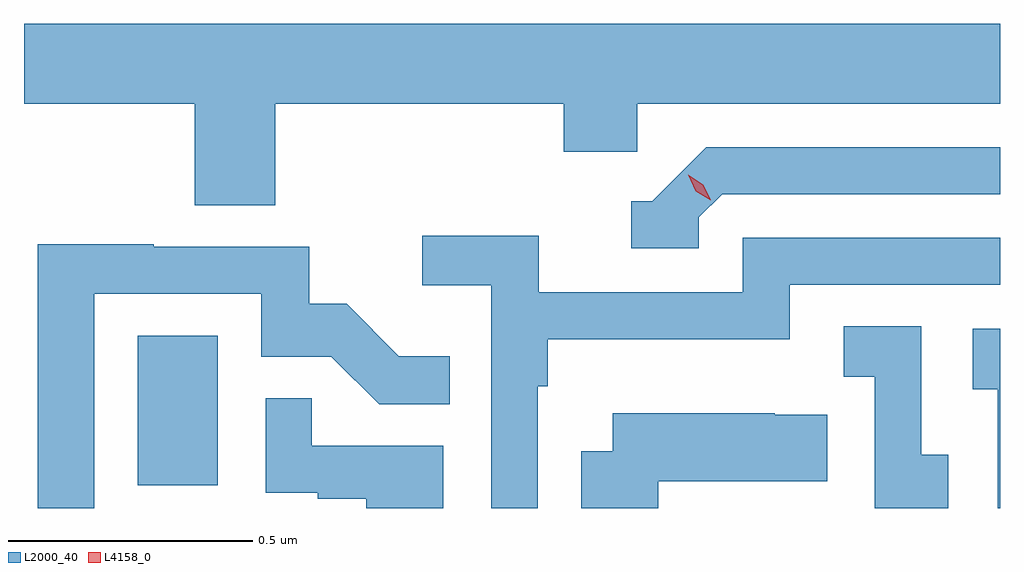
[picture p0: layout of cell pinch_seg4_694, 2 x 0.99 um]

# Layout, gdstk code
import gdstk
lib = gdstk.Library(unit=1e-6, precision=1e-09)
def R(c, l, rs):  # rectangles x0, y0, x1, y1
    for r in rs: c.add(gdstk.rectangle(r[:2], r[2:], *l))
def P(c, l, *ps):  # polygons
    for p in ps: c.add(gdstk.Polygon(p, *l))
L2000_40 = (2000, 40)
L4158_0 = (4158, 0)

pinch_seg4_694 = lib.new_cell('pinch_seg4_694')
R(pinch_seg4_694, L2000_40, [(1097.498,756.078,1097.662,756.385)])
P(pinch_seg4_694, L2000_40, [(1097.78,756.86),(1098.371,756.86),(1098.371,756.762),(1098.522,756.762),(1098.522,756.86),(1099.265,756.86),(1099.265,757.024),(1097.265,757.024),(1097.265,756.86),(1097.615,756.86),(1097.615,756.652),(1097.78,756.652)],
  [(1098.648,756.627),(1098.696,756.675),(1099.265,756.675),(1099.265,756.771),(1098.663,756.771),(1098.552,756.66),(1098.509,756.66),(1098.509,756.564),(1098.648,756.564)],
  [(1098.318,756.281),(1098.338,756.281),(1098.338,756.377),(1098.834,756.377),(1098.834,756.489),(1099.265,756.489),(1099.265,756.585),(1098.738,756.585),(1098.738,756.474),(1098.32,756.474),(1098.32,756.59),(1098.081,756.59),(1098.081,756.488),(1098.222,756.488),(1098.222,756.031),(1098.318,756.031)],
  [(1097.409,756.471),(1097.751,756.471),(1097.751,756.342),(1097.895,756.342),(1097.993,756.244),(1098.137,756.244),(1098.137,756.343),(1098.033,756.343),(1097.926,756.45),(1097.85,756.45),(1097.85,756.567),(1097.531,756.567),(1097.531,756.572),(1097.293,756.572),(1097.293,756.031),(1097.409,756.031)],
  [(1099.159,756.141),(1099.104,756.141),(1099.104,756.404),(1098.945,756.404),(1098.945,756.301),(1099.008,756.301),(1099.008,756.031),(1099.159,756.031)],
  [(1099.265,756.399),(1099.209,756.399),(1099.209,756.275),(1099.26,756.275),(1099.26,756.031),(1099.265,756.031)],
  [(1098.124,756.159),(1097.855,756.159),(1097.855,756.257),(1097.76,756.257),(1097.76,756.063),(1097.867,756.063),(1097.867,756.051),(1097.966,756.051),(1097.966,756.031),(1098.124,756.031)],
  [(1098.565,756.086),(1098.911,756.086),(1098.911,756.223),(1098.803,756.223),(1098.803,756.226),(1098.471,756.226),(1098.471,756.148),(1098.407,756.148),(1098.407,756.031),(1098.565,756.031)])
P(pinch_seg4_694, L4158_0, [(1098.672,756.662),(1098.642,756.681),(1098.626,756.714),(1098.626,756.714),(1098.626,756.714),(1098.657,756.694),(1098.672,756.662),(1098.672,756.662)])

lib.write_gds('pinch_seg4_694.gds')
